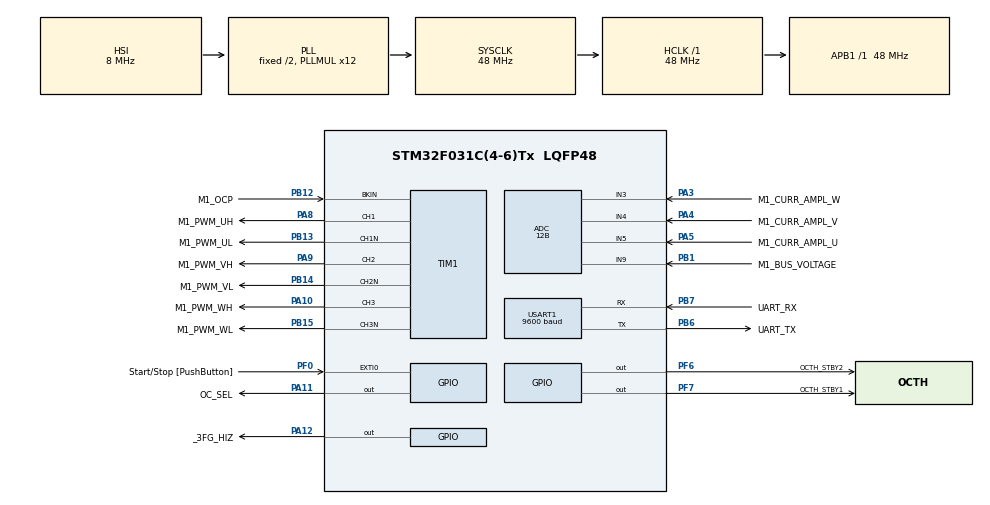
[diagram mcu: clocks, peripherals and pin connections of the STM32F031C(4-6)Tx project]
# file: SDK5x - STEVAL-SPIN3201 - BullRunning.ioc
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ADC.ClockPrescaler=ADC_CLOCK_ASYNC_DIV1
ADC.ContinuousConvMode=DISABLE
ADC.DMAContinuousRequests=ENABLE
ADC.DataAlign=ADC_DATAALIGN_LEFT
ADC.DiscontinuousConvMode=DISABLE
ADC.EOCSelection=ADC_EOC_SINGLE_CONV
ADC.EnableAnalogWatchDog=false
ADC.ExternalTrigConv=ADC_EXTERNALTRIGCONV_T1_TRGO
ADC.ExternalTrigConvEdge=ADC_EXTERNALTRIGCONVEDGE_RISING
ADC.LowPowerAutoPowerOff=DISABLE
ADC.LowPowerAutoWait=DISABLE
ADC.Overrun=ADC_OVR_DATA_PRESERVED
ADC.Resolution=ADC_RESOLUTION_12B
ADC.SamplingTime=ADC_SAMPLETIME_7CYCLES_5
ADC.ScanConvMode=ADC_SCAN_DIRECTION_FORWARD
Dma.ADC.0.Direction=DMA_PERIPH_TO_MEMORY
Dma.ADC.0.Instance=DMA1_Channel1
Dma.ADC.0.MemDataAlignment=DMA_MDATAALIGN_HALFWORD
Dma.ADC.0.MemInc=DMA_MINC_ENABLE
Dma.ADC.0.Mode=DMA_CIRCULAR
Dma.ADC.0.PeriphDataAlignment=DMA_PDATAALIGN_HALFWORD
Dma.ADC.0.PeriphInc=DMA_PINC_DISABLE
Dma.ADC.0.Priority=DMA_PRIORITY_HIGH
Dma.Request0=ADC
ExtraMW=MotorControl
ExtraMW.MotorControl.Config=MotorControl
ExtraMW.MotorControl.Mode=MotorControl
ExtraMW.MotorControl.Root=MCSDK_v5.2.0/MotorControl
ExtraMW.MotorControl.Template=templates
Mcu.Family=STM32F0
Mcu.Name=STM32F031C(4-6)Tx
Mcu.Package=LQFP48
MotorControl.ADC_1_PERIPH=ADC1
MotorControl.ADC_2_PERIPH=ADC2
MotorControl.ADC_AHBPERIPH=RCC_AHBPeriph_ADC12
MotorControl.ADC_CLOCK_WB_DIV=1
MotorControl.ADC_CLOCK_WB_FREQ=14
MotorControl.ADC_PERIPH=ADC1
MotorControl.ALIGNMENT_ANGLE_DEG=90
MotorControl.ALIGNMENT_DURATION=700
MotorControl.AMPLIFICATION_GAIN=7.70
MotorControl.ANGC={0,0,0,0,0,0,0,0}
MotorControl.BEMF_CONSISTENCY_GAIN=64
MotorControl.BEMF_CONSISTENCY_TOL=64
MotorControl.BKIN1_FILTER=0
MotorControl.BKIN2_FILTER=0
MotorControl.BKIN2_MODE=NONE
MotorControl.BKIN_MODE=EXT_MODE
MotorControl.BOARD=CUSTOM
MotorControl.BRKIN2_GPIO_AF=GPIO_AF_2
MotorControl.BRKIN_GPIO_AF=GPIO_AF_2
MotorControl.BUS_VOLTAGE_READING=true
MotorControl.CLOCK_FREQUENCY=CPU_CLK_48_MHZ
MotorControl.CLOCK_SOURCE=INTERNAL
MotorControl.CONSTANT1_D=8158
MotorControl.CONSTANT1_Q=8158
MotorControl.CONSTANT2_QD=2650
MotorControl.CORD_BEMF_CONSISTENCY_GAIN=64
MotorControl.CORD_BEMF_CONSISTENCY_TOL=64
MotorControl.CORD_F1=2048
MotorControl.CORD_F2=16384
MotorControl.CORD_FIFO_DEPTH_01HZ=64
MotorControl.CORD_FIFO_DEPTH_DPP=64
MotorControl.CORD_GAIN1=-1300
MotorControl.CORD_GAIN2=3877
MotorControl.CORD_MAX_ACCEL_DPPP=160
MotorControl.CORD_MEAS_ERRORS_BEFORE_FAULTS=3
MotorControl.CORD_VARIANCE_THRESHOLD=4
MotorControl.CPU_CLK_48_MHZ=true
MotorControl.CTRBDID=10010
MotorControl.CURRENT_READING_TOPOLOGY=THREE_SHUNT
MotorControl.CURR_SAMPLING_TIME=7
MotorControl.DAC_EMULATED=false
MotorControl.DAC_FUNCTIONALITY=false
MotorControl.DAC_TIMER_CH1_GPIO_PIN=LL_GPIO_PIN_0
MotorControl.DAC_TIMER_CH1_GPIO_PORT=GPIOA
MotorControl.DAC_TIMER_CH2_GPIO_PIN=LL_GPIO_PIN_0
MotorControl.DAC_TIMER_CH2_GPIO_PORT=GPIOA
MotorControl.DAC_TIMER_REMAPPING=NO_REMAP
MotorControl.DAC_TIMER_SELECTION=TIM3
MotorControl.DC_CURRENT_RS_MEAS=5.00
MotorControl.DEBUG_DAC_CH1=false
MotorControl.DEBUG_DAC_CH2=false
MotorControl.DEFAULT_CONTROL_MODE=STC_SPEED_MODE
MotorControl.DEFAULT_DAC_CHANNEL_1=MC_PROTOCOL_REG_I_A
MotorControl.DEFAULT_DAC_CHANNEL_2=MC_PROTOCOL_REG_I_B
MotorControl.DEFAULT_DAC_MOTOR=0
MotorControl.DEFAULT_FLUX_COMPONENT=0
MotorControl.DEFAULT_TARGET_SPEED_RPM=3000
MotorControl.DEFAULT_TORQUE_COMPONENT=0
MotorControl.DISSIPATIVE_BRAKE_POLARITY=DOUT_ACTIVE_HIGH
MotorControl.DRIVES_NUMBER_SELECTION=SINGLEDRIVE
MotorControl.EMERGENCY2_STOP_GPIO_PIN=LL_GPIO_PIN_12
MotorControl.EMERGENCY2_STOP_GPIO_PORT=GPIOB
MotorControl.EMERGENCY_STOP_GPIO_PIN=LL_GPIO_PIN_12
MotorControl.EMERGENCY_STOP_GPIO_PORT=GPIOB
MotorControl.ENABLE_SL_ALGO_FROM_PHASE=2
MotorControl.ENCODER_AVAILABLE=false
MotorControl.ENCODER_PPR=400
MotorControl.ENC_AVERAGING_FIFO_DEPTH=16
MotorControl.ENC_A_GPIO_PIN=LL_GPIO_PIN_0
MotorControl.ENC_A_GPIO_PORT=GPIOA
MotorControl.ENC_B_GPIO_PIN=LL_GPIO_PIN_1
MotorControl.ENC_B_GPIO_PORT=GPIOA
MotorControl.ENC_ICx_FILTER=34
MotorControl.ENC_INVERT_SPEED=false
MotorControl.ENC_MEAS_ERRORS_BEFORE_FAULTS=3
MotorControl.ENC_TIMER_REMAPPING=NO_REMAP_TIM2
MotorControl.ENC_TIMER_SELECTION=ENC_TIM2
MotorControl.EXT_CLOCK_FREQUENCY=INT_RC_OSC
MotorControl.F1=2048
MotorControl.F2=16384
MotorControl.FEEDBACK_NET_FILTERING=false
MotorControl.FEED_FORWARD_CURRENT_REG_ENABLING=false
MotorControl.FINAL_I_ALIGNMENT=2981
MotorControl.FLUX_WEAKENING_ENABLING=false
MotorControl.FW_KIDIV=32768
MotorControl.FW_KI_GAIN=5000
MotorControl.FW_KPDIV=32768
MotorControl.FW_KP_GAIN=3000
MotorControl.FW_VOLTAGE_REF=985
MotorControl.GAIN1=-1300
MotorControl.GAIN2=3877
MotorControl.H1_GPIO_PIN=LL_GPIO_PIN_0
MotorControl.H1_GPIO_PORT=GPIOA
MotorControl.H2_GPIO_PIN=LL_GPIO_PIN_1
MotorControl.H2_GPIO_PORT=GPIOA
MotorControl.H3_GPIO_PIN=LL_GPIO_PIN_2
MotorControl.H3_GPIO_PORT=GPIOA
MotorControl.HALL_AVERAGING_FIFO_DEPTH=6
MotorControl.HALL_ICx_FILTER=62
MotorControl.HALL_MEAS_ERRORS_BEFORE_FAULTS=3
MotorControl.HALL_PHASE_SHIFT=300
MotorControl.HALL_SENSORS_AVAILABLE=false
MotorControl.HALL_SENSORS_PLACEMENT=DEGREES_120
MotorControl.HALL_TIMER_REMAPPING=NO_REMAP_TIM2
MotorControl.HALL_TIMER_SELECTION=HALL_TIM2
MotorControl.HFI_AMPLITUDE=25
MotorControl.HFI_DC_0_COEFF=0.00146
MotorControl.HFI_DC_1_COEFF=0.002921
MotorControl.HFI_DC_2_COEFF=0.00146
MotorControl.HFI_DC_3_COEFF=1.889033
MotorControl.HFI_DC_4_COEFF=-0.894874
MotorControl.HFI_DEBUG_MODE=false
MotorControl.HFI_FREQUENCY=400
MotorControl.HFI_HIFRAMPLSCAN=25
MotorControl.HFI_HP_ID_0_COEFF=0.908734
MotorControl.HFI_HP_ID_1_COEFF=-1.817468
MotorControl.HFI_HP_ID_2_COEFF=0.908734
MotorControl.HFI_HP_ID_3_COEFF=1.809122
MotorControl.HFI_HP_ID_4_COEFF=-0.825815
MotorControl.HFI_IDH_DELAY=32400
MotorControl.HFI_LOCKFREQ=50
MotorControl.HFI_LP_ID_0_COEFF=0.013359
MotorControl.HFI_LP_ID_1_COEFF=0.026718
MotorControl.HFI_LP_ID_2_COEFF=0.013359
MotorControl.HFI_LP_ID_3_COEFF=1.64746
MotorControl.HFI_LP_ID_4_COEFF=-0.700897
MotorControl.HFI_MAXANGLEDIFF=3640
MotorControl.HFI_MINIMUM_SPEED_RPM=402
MotorControl.HFI_NOTCH_IQD_0_COEFF=0.95417
MotorControl.HFI_NOTCH_IQD_1_COEFF=-1.872787
MotorControl.HFI_NOTCH_IQD_2_COEFF=0.95417
MotorControl.HFI_NOTCH_IQD_3_COEFF=1.872787
MotorControl.HFI_NOTCH_IQD_4_COEFF=-0.908339
MotorControl.HFI_NSDETPOINTSSKIP=10
MotorControl.HFI_NSMAXDETPOINTS=20
MotorControl.HFI_NS_MIN_SAT_DIFF=0
MotorControl.HFI_PID_KIDIV=32768
MotorControl.HFI_PID_KI_DEFAULT=400
MotorControl.HFI_PID_KPDIV=16384
MotorControl.HFI_PID_KP_DEFAULT=800
MotorControl.HFI_PLL_KI_DEFAULT=0.00400
MotorControl.HFI_PLL_KP_DEFAULT=0.00060
MotorControl.HFI_RESTARTTIMESEC=0.1
MotorControl.HFI_RESTART_RPM_TH=(((HFI_STO_RPM_TH)+(STO_HFI_RPM_TH))/2)
MotorControl.HFI_REVERT_DIRECTION=true
MotorControl.HFI_SCANROTATIONSNO=3
MotorControl.HFI_SPD_BUFFER_DEPTH_01HZ=64
MotorControl.HFI_STEPANGLE=3640
MotorControl.HFI_STO_RPM_TH=OBS_MINIMUM_SPEED_RPM
MotorControl.HFI_WAITAFTERNS2=4
MotorControl.HFI_WAITBEFORESN=6
MotorControl.HFI_WAITSYNCH=20
MotorControl.HFI_WAITTRACK=20
MotorControl.HIGH_SIDE_BRAKE_STATE=false
MotorControl.HIGH_SIDE_IDLE_STATE=false
MotorControl.HW_COMPLEMENTED_LOW_SIDE=false
MotorControl.HW_DEAD_TIME_NS=100
MotorControl.HW_OV_CURRENT_PROT_BYPASS=false
MotorControl.ID_DEMAG=-7645
MotorControl.INRUSH_CURRLIMIT_AT_POWER_ON=true
MotorControl.INRUSH_CURRLIMIT_CHANGE_AFTER_MS=1000
MotorControl.INRUSH_CURRLIMIT_ENABLING=false
MotorControl.INRUSH_CURRLIMIT_GPIO_PIN=LL_GPIO_PIN_4
MotorControl.INRUSH_CURRLIMIT_GPIO_PORT=GPIOE
MotorControl.INRUSH_CURR_LIMITER_POLARITY=DOUT_ACTIVE_HIGH
MotorControl.INTERNAL_OVERCURRENTPROTECTION=false
MotorControl.INTERNAL_OVERVOLTAGEPROTECTION=false
MotorControl.INT_RC_OSC=true
MotorControl.IQMAX=7645
MotorControl.LCD_JOYSTICK_FUNCTIONALITY=false
MotorControl.LCD_MODE=LCD_FULL
MotorControl.LDLQ_RATIO=1.000
MotorControl.LOW_SIDE_BRAKE_STATE=false
MotorControl.LOW_SIDE_IDLE_STATE=false
MotorControl.LOW_SIDE_SIGNALS_ENABLING=LS_PWM_TIMER
MotorControl.LS=0.000012
MotorControl.MAX_APPLICATION_SPEED=15000
MotorControl.MAX_MODULATION_97_PER_CENT=true
MotorControl.MAX_MODULATION_INDEX=MAX_MODULATION_97_PER_CENT
MotorControl.MCU=STSPIN32F0
MotorControl.MCU_SUPPLY_VOLTAGE=3.30
MotorControl.MCU_TYPE=STSPIN32F0
MotorControl.MC_WORKBENCH_VERSION=5.2.0.18503
MotorControl.MEAS_ERRORS_BEFORE_FAULTS=3
MotorControl.MIN_APPLICATION_SPEED=0
MotorControl.MOTOR_MAX_SPEED_RPM=15000
MotorControl.MOTOR_TYPE=PMSM
MotorControl.MOTOR_VOLTAGE_CONSTANT=0.9
MotorControl.MTPA_ENABLING=false
MotorControl.NB_CONSECUTIVE_TESTS=2
MotorControl.NOMINAL_BUS_VOLTAGE_V=12
MotorControl.NOMINAL_CURRENT=7645
MotorControl.OBS_MEAS_ERRORS_BEFORE_FAULTS=3
MotorControl.OBS_MINIMUM_SPEED_RPM=2533
MotorControl.OCPA_INVERTINGINPUT=COMPX_InvertingInput_VREF
MotorControl.OCPA_INVERTINGINPUT_GPIO_PIN=LL_GPIO_PIN_4
MotorControl.OCPA_INVERTINGINPUT_GPIO_PORT=GPIOA
MotorControl.OCPA_INVERTINGINPUT_MODE=INT_MODE
MotorControl.OCPA_NONINVERTINGINPUT=COMP1_NonInvertingInput_PA1
MotorControl.OCPA_NONINVERTINGINPUT_GPIO_PIN=LL_GPIO_PIN_1
MotorControl.OCPA_NONINVERTINGINPUT_GPIO_PORT=GPIOA
MotorControl.OCPA_OUTPUT=COMP_Output_TIM1BKIN2
MotorControl.OCPA_OUTPUTPOL=COMP_OutputPol_NonInverted
MotorControl.OCPA_OUTPUT_GPIO_AF=GPIO_AF_2
MotorControl.OCPA_OUTPUT_GPIO_PIN=LL_GPIO_PIN_0
MotorControl.OCPA_OUTPUT_GPIO_PORT=GPIOA
MotorControl.OCPA_OUTPUT_MODE=INT_MODE
MotorControl.OCPA_SELECTION=COMP1
MotorControl.OCPB_INVERTINGINPUT=COMPX_InvertingInput_VREF
MotorControl.OCPB_INVERTINGINPUT_GPIO_PIN=LL_GPIO_PIN_4
MotorControl.OCPB_INVERTINGINPUT_GPIO_PORT=GPIOA
MotorControl.OCPB_INVERTINGINPUT_MODE=INT_MODE
MotorControl.OCPB_NONINVERTINGINPUT=COMP2_NonInvertingInput_PA7
MotorControl.OCPB_NONINVERTINGINPUT_GPIO_PIN=LL_GPIO_PIN_7
MotorControl.OCPB_NONINVERTINGINPUT_GPIO_PORT=GPIOA
MotorControl.OCPB_OUTPUT=COMP_Output_TIM1BKIN2
MotorControl.OCPB_OUTPUTPOL=COMP_OutputPol_NonInverted
MotorControl.OCPB_OUTPUT_GPIO_AF=GPIO_AF_2
MotorControl.OCPB_OUTPUT_GPIO_PIN=LL_GPIO_PIN_2
MotorControl.OCPB_OUTPUT_GPIO_PORT=GPIOA
MotorControl.OCPB_OUTPUT_MODE=INT_MODE
MotorControl.OCPB_SELECTION=COMP2
MotorControl.OCPC_INVERTINGINPUT=COMPX_InvertingInput_VREF
MotorControl.OCPC_INVERTINGINPUT_GPIO_PIN=LL_GPIO_PIN_4
MotorControl.OCPC_INVERTINGINPUT_GPIO_PORT=GPIOA
MotorControl.OCPC_INVERTINGINPUT_MODE=INT_MODE
MotorControl.OCPC_NONINVERTINGINPUT=COMP3_NonInvertingInput_PB14
MotorControl.OCPC_NONINVERTINGINPUT_GPIO_PIN=LL_GPIO_PIN_14
MotorControl.OCPC_NONINVERTINGINPUT_GPIO_PORT=GPIOB
MotorControl.OCPC_OUTPUT=COMP_Output_TIM1BKIN2
MotorControl.OCPC_OUTPUTPOL=COMP_OutputPol_NonInverted
MotorControl.OCPC_OUTPUT_GPIO_AF=GPIO_AF_2
MotorControl.OCPC_OUTPUT_GPIO_PIN=LL_GPIO_PIN_8
MotorControl.OCPC_OUTPUT_GPIO_PORT=GPIOC
MotorControl.OCPC_OUTPUT_MODE=INT_MODE
MotorControl.OCPC_SELECTION=COMP3
MotorControl.OCPREF=23830
MotorControl.OCP_COMP_THRESHOLD=0.10
MotorControl.OCP_FILTER=COMP_Mode_HighSpeed
MotorControl.OCP_INVERTINGINPUT=COMPX_InvertingInput_VREF
MotorControl.OCP_INVERTINGINPUT_GPIO_PIN=LL_GPIO_PIN_4
MotorControl.OCP_INVERTINGINPUT_GPIO_PORT=GPIOA
MotorControl.OCP_INVERTINGINPUT_MODE=INT_MODE
MotorControl.OCP_NONINVERTINGINPUT=COMP2_NonInvertingInput_PA7
MotorControl.OCP_NONINVERTINGINPUT_GPIO_PIN=LL_GPIO_PIN_7
MotorControl.OCP_NONINVERTINGINPUT_GPIO_PORT=GPIOA
MotorControl.OCP_OUTPUT=COMP_Output_TIM1BKIN2
MotorControl.OCP_OUTPUTPOL=COMP_OutputPol_NonInverted
MotorControl.OCP_OUTPUT_GPIO_AF=GPIO_AF_2
MotorControl.OCP_OUTPUT_GPIO_PIN=LL_GPIO_PIN_2
MotorControl.OCP_OUTPUT_GPIO_PORT=GPIOA
MotorControl.OCP_OUTPUT_MODE=INT_MODE
MotorControl.OCP_SELECTION=COMP2
MotorControl.OFST={0,0,0,0,0,0,0,0}
MotorControl.ON_OVER_VOLTAGE=TURN_ON_LOW_SIDES
MotorControl.OPAMP1_INVERTINGINPUT=OPAMP1_InvertingInput_PGA
MotorControl.OPAMP1_INVERTINGINPUT_GPIO_PIN=LL_GPIO_PIN_3
MotorControl.OPAMP1_INVERTINGINPUT_GPIO_PORT=GPIOA
MotorControl.OPAMP1_INVERTINGINPUT_MODE=INT_MODE
MotorControl.OPAMP1_NONINVERTINGINPUT_PHA=OPAMP1_NonInvertingInput_PA1
MotorControl.OPAMP1_NONINVERTINGINPUT_PHA_GPIO_PIN=LL_GPIO_PIN_1
MotorControl.OPAMP1_NONINVERTINGINPUT_PHA_GPIO_PORT=GPIOA
MotorControl.OPAMP1_NONINVERTINGINPUT_PHB=OPAMP1_NonInvertingInput_PA7
MotorControl.OPAMP1_NONINVERTINGINPUT_PHB_GPIO_PIN=LL_GPIO_PIN_7
MotorControl.OPAMP1_NONINVERTINGINPUT_PHB_GPIO_PORT=GPIOA
MotorControl.OPAMP1_OUT_GPIO_PIN=LL_GPIO_PIN_2
MotorControl.OPAMP1_OUT_GPIO_PORT=GPIOA
MotorControl.OPAMP1_SELECTION=OPAMP1
MotorControl.OPAMP2_INVERTINGINPUT=OPAMP2_InvertingInput_PGA
MotorControl.OPAMP2_INVERTINGINPUT_GPIO_PIN=LL_GPIO_PIN_5
MotorControl.OPAMP2_INVERTINGINPUT_GPIO_PORT=GPIOC
MotorControl.OPAMP2_INVERTINGINPUT_MODE=INT_MODE
MotorControl.OPAMP2_NONINVERTINGINPUT_PHA=OPAMP2_NonInvertingInput_PB14
MotorControl.OPAMP2_NONINVERTINGINPUT_PHA_GPIO_PIN=LL_GPIO_PIN_14
MotorControl.OPAMP2_NONINVERTINGINPUT_PHA_GPIO_PORT=GPIOB
MotorControl.OPAMP2_NONINVERTINGINPUT_PHB=OPAMP2_NonInvertingInput_PA7
MotorControl.OPAMP2_NONINVERTINGINPUT_PHB_GPIO_PIN=LL_GPIO_PIN_7
MotorControl.OPAMP2_NONINVERTINGINPUT_PHB_GPIO_PORT=GPIOA
MotorControl.OPAMP2_NONINVERTINGINPUT_PHC=OPAMP2_NonInvertingInput_PB14
MotorControl.OPAMP2_NONINVERTINGINPUT_PHC_GPIO_PIN=LL_GPIO_PIN_14
MotorControl.OPAMP2_NONINVERTINGINPUT_PHC_GPIO_PORT=GPIOB
MotorControl.OPAMP2_OUT_GPIO_PIN=LL_GPIO_PIN_6
MotorControl.OPAMP2_OUT_GPIO_PORT=GPIOA
MotorControl.OPAMP2_SELECTION=OPAMP2
MotorControl.OPAMP_INVERTINGINPUT=OPAMP1_InvertingInput_PGA
MotorControl.OPAMP_INVERTINGINPUT_GPIO_PIN=LL_GPIO_PIN_3
MotorControl.OPAMP_INVERTINGINPUT_GPIO_PORT=GPIOA
MotorControl.OPAMP_INVERTINGINPUT_MODE=INT_MODE
MotorControl.OPAMP_NONINVERTINGINPUT=OPAMP1_NonInvertingInput_PA7
MotorControl.OPAMP_NONINVERTINGINPUT_GPIO_PIN=LL_GPIO_PIN_7
MotorControl.OPAMP_NONINVERTINGINPUT_GPIO_PORT=GPIOA
MotorControl.OPAMP_OUT_GPIO_PIN=LL_GPIO_PIN_2
MotorControl.OPAMP_OUT_GPIO_PORT=GPIOA
MotorControl.OPAMP_PGACONNECT=OPAMP_PGAConnect_No
MotorControl.OPAMP_PGAGAIN=OPAMP_OPAMP_PGAGain_2
MotorControl.OPAMP_SELECTION=OPAMP1
MotorControl.OPAMP_TYPE_GAIN=INTERNAL
MotorControl.OPEN_LOOP_FOC=false
MotorControl.OPEN_LOOP_K=44
MotorControl.OPEN_LOOP_OFF=4400
MotorControl.OPEN_LOOP_SPEED_RAMP_DURATION_MS=1000
MotorControl.OPEN_LOOP_SPEED_RPM=100
MotorControl.OPEN_LOOP_VF=false
MotorControl.OPEN_LOOP_VOLTAGE_d=6000
MotorControl.OVERCURR_FEEDBACK_POLARITY=EMSTOP_ACTIVE_HIGH
MotorControl.OVERCURR_PROTECTION_HW_DISABLING=DOUT_ACTIVE_HIGH
MotorControl.OVPREF=23830
MotorControl.OVP_FILTER=COMP_Mode_HighSpeed
MotorControl.OVP_INVERTINGINPUT=COMPX_InvertingInput_VREF
MotorControl.OVP_INVERTINGINPUT_GPIO_PIN=LL_GPIO_PIN_4
MotorControl.OVP_INVERTINGINPUT_GPIO_PORT=GPIOA
MotorControl.OVP_INVERTINGINPUT_MODE=INT_MODE
MotorControl.OVP_NONINVERTINGINPUT=COMP7_NonInvertingInput_PA0
MotorControl.OVP_NONINVERTINGINPUT_GPIO_PIN=LL_GPIO_PIN_0
MotorControl.OVP_NONINVERTINGINPUT_GPIO_PORT=GPIOA
MotorControl.OVP_OUTPUT=COMP_Output_TIM1BKIN
MotorControl.OVP_OUTPUTPOL=COMP_OutputPol_NonInverted
MotorControl.OVP_OUTPUT_GPIO_AF=GPIO_AF_2
MotorControl.OVP_OUTPUT_GPIO_PIN=LL_GPIO_PIN_2
MotorControl.OVP_OUTPUT_GPIO_PORT=GPIOC
MotorControl.OVP_OUTPUT_MODE=INT_MODE
MotorControl.OVP_SELECTION=COMP7
MotorControl.OV_CURR_BYPASS_GPIO_PIN=LL_GPIO_PIN_5
MotorControl.OV_CURR_BYPASS_GPIO_PORT=GPIOE
MotorControl.OV_TEMPERATURE_HYSTERESIS_C=10
MotorControl.OV_TEMPERATURE_PROT_ENABLING=false
MotorControl.OV_TEMPERATURE_THRESHOLD_C=70
MotorControl.OV_VOLTAGE_PROT_ENABLING=true
MotorControl.OV_VOLTAGE_THRESHOLD_V=45
MotorControl.PHASE1_DURATION=100
MotorControl.PHASE1_FINAL_CURRENT=1834
MotorControl.PHASE1_FINAL_SPEED_RPM=0
MotorControl.PHASE2_DURATION=300
MotorControl.PHASE2_FINAL_CURRENT=1834
MotorControl.PHASE2_FINAL_SPEED_RPM=1500
MotorControl.PHASE3_DURATION=500
MotorControl.PHASE3_FINAL_CURRENT=1834
MotorControl.PHASE3_FINAL_SPEED_RPM=3000
MotorControl.PHASE4_DURATION=0
MotorControl.PHASE4_FINAL_CURRENT=1834
MotorControl.PHASE4_FINAL_SPEED_RPM=3000
MotorControl.PHASE5_DURATION=0
MotorControl.PHASE5_FINAL_CURRENT=1834
MotorControl.PHASE5_FINAL_SPEED_RPM=3000
MotorControl.PHASE_CURRENTS_ADC=ADC1_2
MotorControl.PHASE_CURRENTS_CHANNEL=ADC_CHANNEL_9
MotorControl.PHASE_CURRENTS_GPIO_PIN=LL_GPIO_PIN_0
MotorControl.PHASE_CURRENTS_GPIO_PORT=GPIOA
MotorControl.PHASE_UH_GPIO_AF=GPIO_AF_2
MotorControl.PHASE_UH_GPIO_PIN=LL_GPIO_PIN_8
MotorControl.PHASE_UH_GPIO_PORT=GPIOA
MotorControl.PHASE_UH_POLARITY=H_ACTIVE_HIGH
MotorControl.PHASE_UL_GPIO_AF=GPIO_AF_2
MotorControl.PHASE_UL_GPIO_PIN=LL_GPIO_PIN_13
MotorControl.PHASE_UL_GPIO_PORT=GPIOB
MotorControl.PHASE_UL_POLARITY=L_ACTIVE_HIGH
MotorControl.PHASE_U_CURR_ADC=ADC1
MotorControl.PHASE_U_CURR_CHANNEL=ADC_CHANNEL_5
MotorControl.PHASE_U_GPIO_PIN=LL_GPIO_PIN_5
MotorControl.PHASE_U_GPIO_PORT=GPIOA
MotorControl.PHASE_VH_GPIO_AF=GPIO_AF_2
MotorControl.PHASE_VH_GPIO_PIN=LL_GPIO_PIN_9
MotorControl.PHASE_VH_GPIO_PORT=GPIOA
MotorControl.PHASE_VH_POLARITY=H_ACTIVE_HIGH
MotorControl.PHASE_VL_GPIO_AF=GPIO_AF_2
MotorControl.PHASE_VL_GPIO_PIN=LL_GPIO_PIN_14
MotorControl.PHASE_VL_GPIO_PORT=GPIOB
MotorControl.PHASE_VL_POLARITY=L_ACTIVE_HIGH
MotorControl.PHASE_V_CURR_ADC=ADC1
MotorControl.PHASE_V_CURR_CHANNEL=ADC_CHANNEL_4
MotorControl.PHASE_V_GPIO_PIN=LL_GPIO_PIN_4
MotorControl.PHASE_V_GPIO_PORT=GPIOA
MotorControl.PHASE_WH_GPIO_AF=GPIO_AF_2
MotorControl.PHASE_WH_GPIO_PIN=LL_GPIO_PIN_10
MotorControl.PHASE_WH_GPIO_PORT=GPIOA
MotorControl.PHASE_WH_POLARITY=H_ACTIVE_HIGH
MotorControl.PHASE_WL_GPIO_AF=GPIO_AF_2
MotorControl.PHASE_WL_GPIO_PIN=LL_GPIO_PIN_15
MotorControl.PHASE_WL_GPIO_PORT=GPIOB
MotorControl.PHASE_WL_POLARITY=L_ACTIVE_HIGH
MotorControl.PHASE_W_CURR_ADC=ADC1
MotorControl.PHASE_W_CURR_CHANNEL=ADC_CHANNEL_3
MotorControl.PHASE_W_GPIO_PIN=LL_GPIO_PIN_3
MotorControl.PHASE_W_GPIO_PORT=GPIOA
MotorControl.PID_FLUX_KD_DEFAULT=100
MotorControl.PID_FLUX_KI_DEFAULT=1620
MotorControl.PID_FLUX_KP_DEFAULT=1404
MotorControl.PID_SPEED_KD_DEFAULT=0
MotorControl.PID_SPEED_KI_DEFAULT=133
MotorControl.PID_SPEED_KP_DEFAULT=2733
MotorControl.PID_TORQUE_KD_DEFAULT=100
MotorControl.PID_TORQUE_KI_DEFAULT=1620
MotorControl.PID_TORQUE_KP_DEFAULT=1404
MotorControl.PLL_KI_GAIN=234
MotorControl.PLL_KP_GAIN=4297
MotorControl.POLE_PAIR_NUM=7
MotorControl.PWBDID=10010
MotorControl.PWM_FREQUENCY=13000
MotorControl.PWM_TIMER_REMAPPING=PWM_NO_REMAP
MotorControl.PWM_TIMER_SELECTION=PWM_TIM1
MotorControl.REGCONVADC=ADC1
MotorControl.REGULATION_EXECUTION_RATE=1
MotorControl.RS=0.18
MotorControl.RSHUNT=0.010
MotorControl.R_BRAKE_GPIO_PIN=LL_GPIO_PIN_5
MotorControl.R_BRAKE_GPIO_PORT=GPIOE
MotorControl.R_BRAKE_SWITCH_OFF_THRES_V=36
MotorControl.SEGDIV=0
MotorControl.SERIAL_COMMUNICATION=true
MotorControl.SERIAL_COM_CHANNEL1=MC_PROTOCOL_REG_I_A
MotorControl.SERIAL_COM_CHANNEL2=MC_PROTOCOL_REG_I_A
MotorControl.SERIAL_COM_MODE=COM_BIDIRECTIONAL
MotorControl.SERIAL_COM_MOTOR=0
MotorControl.SHARED_SIGNAL_ENABLE=false
MotorControl.SINGLEDRIVE=true
MotorControl.SPD_DIFFERENTIAL_TERM_ENABLING=false
MotorControl.SPEED_BAND_LOWER_LIMIT=15
MotorControl.SPEED_BAND_UPPER_LIMIT=17
MotorControl.SPEED_FEEDBACK_CHECK=true
MotorControl.SPEED_LOOP_FREQUENCY_HZ=1000
MotorControl.SPEED_SENSOR_SELECTION=STATE_OBSERVER_PLL
MotorControl.SP_KDDIV=16
MotorControl.SP_KIDIV=16384
MotorControl.SP_KPDIV=512
MotorControl.STARTING_ANGLE_DEG=0
MotorControl.START_STOP_BTN=true
MotorControl.START_STOP_GPIO_PIN=LL_GPIO_PIN_0
MotorControl.START_STOP_GPIO_PORT=GPIOF
MotorControl.START_STOP_POLARITY=DIN_ACTIVE_LOW
MotorControl.STATE_OBSERVER_PLL=true
MotorControl.STO_FIFO_DEPTH_01HZ=64
MotorControl.STO_FIFO_DEPTH_DPP=64
MotorControl.STO_HFI_RPM_TH=460
MotorControl.STSPIN32F0=true
MotorControl.SW_DEADTIME_NS=800
MotorControl.SW_OV_CURRENT_PROT_ENABLING=true
MotorControl.T0_C=25
MotorControl.TEMPERATURE_READING=false
MotorControl.TEMP_ADC_SAMPLING_TIME=1
MotorControl.TEMP_FDBK_ADC=ADC1
MotorControl.TEMP_FDBK_CHANNEL=ADC_CHANNEL_5
MotorControl.TEMP_FDBK_GPIO_PIN=LL_GPIO_PIN_5
MotorControl.TEMP_FDBK_GPIO_PORT=GPIOA
MotorControl.TFDIFFERENTIAL_TERM_ENABLING=false
MotorControl.TF_KDDIV=8192
MotorControl.TF_KIDIV=16384
MotorControl.TF_KPDIV=16384
MotorControl.THREE_SHUNT=true
MotorControl.TNOISE_NS=1200
MotorControl.TRANSITION_DURATION=25
MotorControl.TRISE_NS=1200
MotorControl.T_MAX=70
MotorControl.UD_VOLTAGE_THRESHOLD_V=8
MotorControl.USART_REMAPPING=NO_REMAP_USART1
MotorControl.USART_RX_GPIO_PIN=LL_GPIO_PIN_7
MotorControl.USART_RX_GPIO_PORT=GPIOB
MotorControl.USART_SELECTION=USE_USART1
MotorControl.USART_SPEED=9600
MotorControl.USART_TX_GPIO_PIN=LL_GPIO_PIN_6
MotorControl.USART_TX_GPIO_PORT=GPIOB
MotorControl.USE_INTERNAL_OPAMP=false
MotorControl.UV_VOLTAGE_PROT_ENABLING=true
MotorControl.V0_V=0.290
MotorControl.VARIANCE_THRESHOLD=0.1
MotorControl.VBUS_ADC=ADC1
MotorControl.VBUS_ADC_SAMPLING_TIME=28
MotorControl.VBUS_CHANNEL=ADC_CHANNEL_9
MotorControl.VBUS_GPIO_PIN=LL_GPIO_PIN_1
MotorControl.VBUS_GPIO_PORT=GPIOB
MotorControl.VBUS_PARTITIONING_FACTOR=0.0522
MotorControl.WB_to_Mx_template_version=18-08-02
MotorControl.WB_to_Mx_version=0.13.3
MotorControl.dV_dT=0.025
NVIC.DMA1_Channel1_IRQn=true\:0\:0\:true\:true\:false\:3\:true
NVIC.EXTI0_1_IRQn=true\:0\:0\:false\:true\:false\:5\:true
NVIC.TIM1_BRK_UP_TRG_COM_IRQn=true\:0\:0\:false\:true\:false\:1\:true
NVIC.USART1_IRQn=true\:3\:0\:true\:true\:false\:4\:true
PA10.GPIO_Label=M1_PWM_WH
PA10.GPIO_PuPd=GPIO_PULLDOWN
PA10.GPIO_Speed=GPIO_SPEED_FREQ_HIGH
PA10.Signal=S_TIM1_CH3
PA11.GPIO_Label=OC_SEL
PA11.GPIO_PuPd=GPIO_PULLDOWN
PA11.PinState=GPIO_PIN_SET
PA11.Signal=GPIO_Output
PA12.GPIO_Label=_3FG_HIZ
PA12.GPIO_PuPd=GPIO_PULLDOWN
PA12.Signal=GPIO_Output
PA3.GPIO_Label=M1_CURR_AMPL_W
PA3.Mode=IN3
PA3.Signal=ADC_IN3
PA4.GPIO_Label=M1_CURR_AMPL_V
PA4.Mode=IN4
PA4.Signal=ADC_IN4
PA5.GPIO_Label=M1_CURR_AMPL_U
PA5.Mode=IN5
PA5.Signal=ADC_IN5
PA8.GPIO_Label=M1_PWM_UH
PA8.GPIO_PuPd=GPIO_PULLDOWN
PA8.GPIO_Speed=GPIO_SPEED_FREQ_HIGH
PA8.Signal=S_TIM1_CH1
PA9.GPIO_Label=M1_PWM_VH
PA9.GPIO_PuPd=GPIO_PULLDOWN
PA9.GPIO_Speed=GPIO_SPEED_FREQ_HIGH
PA9.Signal=S_TIM1_CH2
PB1.GPIO_Label=M1_BUS_VOLTAGE
PB1.Mode=IN9
PB1.Signal=ADC_IN9
PB12.GPIO_Label=M1_OCP
PB12.GPIO_PuPd=GPIO_PULLDOWN
PB12.Mode=Activate-Break-Input
PB12.Signal=TIM1_BKIN
PB13.GPIO_Label=M1_PWM_UL
PB13.GPIO_PuPd=GPIO_PULLDOWN
PB13.GPIO_Speed=GPIO_SPEED_FREQ_HIGH
PB13.Mode=PWM Generation1 CH1 CH1N
PB13.Signal=TIM1_CH1N
PB14.GPIO_Label=M1_PWM_VL
PB14.GPIO_PuPd=GPIO_PULLDOWN
PB14.GPIO_Speed=GPIO_SPEED_FREQ_HIGH
PB14.Mode=PWM Generation2 CH2 CH2N
PB14.Signal=TIM1_CH2N
PB15.GPIO_Label=M1_PWM_WL
PB15.GPIO_PuPd=GPIO_PULLDOWN
PB15.GPIO_Speed=GPIO_SPEED_FREQ_HIGH
PB15.Mode=PWM Generation3 CH3 CH3N
PB15.Signal=TIM1_CH3N
PB6.GPIO_Label=UART_TX
PB6.GPIO_Mode=GPIO_MODE_AF_PP
PB6.GPIO_PuPd=GPIO_NOPULL
PB6.GPIO_Speed=GPIO_SPEED_FREQ_LOW
PB6.Mode=Asynchronous
PB6.Signal=USART1_TX
PB7.GPIO_Label=UART_RX
PB7.GPIO_Mode=GPIO_MODE_AF_PP
PB7.GPIO_PuPd=GPIO_NOPULL
PB7.GPIO_Speed=GPIO_SPEED_FREQ_LOW
PB7.Mode=Asynchronous
PB7.Signal=USART1_RX
PF0-OSC_IN.GPIO_Label=Start/Stop [PushButton]
PF0-OSC_IN.GPIO_ModeDefaultEXTI=GPIO_MODE_IT_FALLING
PF0-OSC_IN.Signal=GPXTI0
PF6.GPIO_Label=OCTH_STBY2
PF6.GPIO_PuPd=GPIO_PULLDOWN
PF6.PinState=GPIO_PIN_RESET
PF6.Signal=GPIO_Output
PF7.GPIO_Label=OCTH_STBY1
PF7.GPIO_PuPd=GPIO_PULLDOWN
PF7.PinState=GPIO_PIN_SET
PF7.Signal=GPIO_Output
ProjectManager.HeapSize=0x200
ProjectManager.StackSize=0x400
ProjectManager.TargetToolchain=EWARM
RCC.AHBFreq_Value=48000000
RCC.APB1Freq_Value=48000000
RCC.APB1TimFreq_Value=48000000
RCC.EnbaleCSS=true
RCC.HCLKFreq_Value=48000000
RCC.PLLMUL=RCC_PLL_MUL12
RCC.SYSCLKFreq_VALUE=48000000
RCC.SYSCLKSource=RCC_SYSCLKSOURCE_PLLCLK
SH.S_TIM1_CH1.0=TIM1_CH1,PWM Generation1 CH1 CH1N
SH.S_TIM1_CH2.0=TIM1_CH2,PWM Generation2 CH2 CH2N
SH.S_TIM1_CH3.0=TIM1_CH3,PWM Generation3 CH3 CH3N
TIM1.AutoReloadPreload=TIM_AUTORELOAD_PRELOAD_DISABLE
TIM1.AutomaticOutput=TIM_AUTOMATICOUTPUT_DISABLE
TIM1.BreakPolarity=TIM_BREAKPOLARITY_HIGH
TIM1.BreakState=TIM_BREAK_ENABLE
TIM1.Channel-PWM\ Generation1\ CH1\ CH1N=TIM_CHANNEL_1
TIM1.Channel-PWM\ Generation2\ CH2\ CH2N=TIM_CHANNEL_2
TIM1.Channel-PWM\ Generation3\ CH3\ CH3N=TIM_CHANNEL_3
TIM1.Channel-PWM\ Generation4\ No\ Output=TIM_CHANNEL_4
TIM1.ClockDivision=TIM_CLOCKDIVISION_DIV2
TIM1.CounterMode=TIM_COUNTERMODE_CENTERALIGNED1
TIM1.DeadTime=((DEAD_TIME_COUNTS) / 2)
TIM1.LockLevel=TIM_LOCKLEVEL_1
TIM1.OCIdleState_1=TIM_OCIDLESTATE_RESET
TIM1.OCIdleState_2=TIM_OCIDLESTATE_RESET
TIM1.OCIdleState_3=TIM_OCIDLESTATE_RESET
TIM1.OCIdleState_4=TIM_OCIDLESTATE_RESET
TIM1.OCMode_PWM-PWM\ Generation1\ CH1\ CH1N=TIM_OCMODE_PWM1
TIM1.OCMode_PWM-PWM\ Generation2\ CH2\ CH2N=TIM_OCMODE_PWM1
TIM1.OCMode_PWM-PWM\ Generation3\ CH3\ CH3N=TIM_OCMODE_PWM1
TIM1.OCMode_PWM-PWM\ Generation4\ No\ Output=TIM_OCMODE_PWM2
TIM1.OCNIdleState_1=TIM_OCNIDLESTATE_RESET
TIM1.OCNIdleState_2=TIM_OCNIDLESTATE_RESET
TIM1.OCNIdleState_3=TIM_OCNIDLESTATE_RESET
TIM1.OCNPolarity_1=TIM_OCNPOLARITY_HIGH
TIM1.OCNPolarity_2=TIM_OCNPOLARITY_HIGH
TIM1.OCNPolarity_3=TIM_OCNPOLARITY_HIGH
TIM1.OCPolarity_1=TIM_OCPOLARITY_HIGH
TIM1.OCPolarity_2=TIM_OCPOLARITY_HIGH
TIM1.OCPolarity_3=TIM_OCPOLARITY_HIGH
TIM1.OCPolarity_4=TIM_OCPOLARITY_HIGH
TIM1.OffStateIDLEMode=TIM_OSSI_ENABLE
TIM1.OffStateRunMode=TIM_OSSR_ENABLE
TIM1.Period=((PWM_PERIOD_CYCLES) / 2)
TIM1.Prescaler=((TIM_CLOCK_DIVIDER) - 1)
TIM1.Pulse-PWM\ Generation1\ CH1=((PWM_PERIOD_CYCLES) / 4)
TIM1.Pulse-PWM\ Generation2\ CH2=((PWM_PERIOD_CYCLES) / 4)
TIM1.Pulse-PWM\ Generation3\ CH3=((PWM_PERIOD_CYCLES) / 4)
TIM1.Pulse-PWM\ Generation4\ No\ Output=(((PWM_PERIOD_CYCLES) / 2) - (HTMIN))
TIM1.RepetitionCounter=(REP_COUNTER)
TIM1.TIM_MasterOutputTrigger=TIM_TRGO_OC4REF
TIM1.TIM_MasterSlaveMode=TIM_MASTERSLAVEMODE_DISABLE
USART1.BaudRate=9600
USART1.VirtualMode-Asynchronous=VM_ASYNC
USART1.WordLength=WORDLENGTH_8B
VP_MotorControl_MC_ENABLED.Mode=Enabled
VP_TIM1_VS_no_output4.Mode=PWM Generation4 No Output
board=custom

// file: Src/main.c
/**
  ******************************************************************************
  * @file           : main.c
  * @brief          : Main program body
  ******************************************************************************
  * This notice applies to any and all portions of this file
  * that are not between comment pairs USER CODE BEGIN and
  * USER CODE END. Other portions of this file, whether
  * inserted by the user or by software development tools
  * are owned by their respective copyright owners.
  *
  * Copyright (c) 2018 STMicroelectronics International N.V.
  * All rights reserved.
  *
  * Redistribution and use in source and binary forms, with or without
  * modification, are permitted, provided that the following conditions are met:
  *
  * 1. Redistribution of source code must retain the above copyright notice,
  *    this list of conditions and the following disclaimer.
  * 2. Redistributions in binary form must reproduce the above copyright notice,
  *    this list of conditions and the following disclaimer in the documentation
  *    and/or other materials provided with the distribution.
  * 3. Neither the name of STMicroelectronics nor the names of other
  *    contributors to this software may be used to endorse or promote products
  *    derived from this software without specific written permission.
  * 4. This software, including modifications and/or derivative works of this
  *    software, must execute solely and exclusively on microcontroller or
  *    microprocessor devices manufactured by or for STMicroelectronics.
  * 5. Redistribution and use of this software other than as permitted under
  *    this license is void and will automatically terminate your rights under
  *    this license.
  *
  * THIS SOFTWARE IS PROVIDED BY STMICROELECTRONICS AND CONTRIBUTORS "AS IS"
  * AND ANY EXPRESS, IMPLIED OR STATUTORY WARRANTIES, INCLUDING, BUT NOT
  * LIMITED TO, THE IMPLIED WARRANTIES OF MERCHANTABILITY, FITNESS FOR A
  * PARTICULAR PURPOSE AND NON-INFRINGEMENT OF THIRD PARTY INTELLECTUAL PROPERTY
  * RIGHTS ARE DISCLAIMED TO THE FULLEST EXTENT PERMITTED BY LAW. IN NO EVENT
  * SHALL STMICROELECTRONICS OR CONTRIBUTORS BE LIABLE FOR ANY DIRECT, INDIRECT,
  * INCIDENTAL, SPECIAL, EXEMPLARY, OR CONSEQUENTIAL DAMAGES (INCLUDING, BUT NOT
  * LIMITED TO, PROCUREMENT OF SUBSTITUTE GOODS OR SERVICES; LOSS OF USE, DATA,
  * OR PROFITS; OR BUSINESS INTERRUPTION) HOWEVER CAUSED AND ON ANY THEORY OF
  * LIABILITY, WHETHER IN CONTRACT, STRICT LIABILITY, OR TORT (INCLUDING
  * NEGLIGENCE OR OTHERWISE) ARISING IN ANY WAY OUT OF THE USE OF THIS SOFTWARE,
  * EVEN IF ADVISED OF THE POSSIBILITY OF SUCH DAMAGE.
  *
  ******************************************************************************
  */
#include "main.h"
#include "stm32f0xx_hal.h"
#include "motorcontrol.h"

/* USER CODE BEGIN Includes */
#include "mc_api.h"
#include "mc_extended_api.h"
#include "ui_task.h"
#include "regular_conversion_manager.h"

/* USER CODE END Includes */

ADC_HandleTypeDef hadc;
DMA_HandleTypeDef hdma_adc;

TIM_HandleTypeDef htim1;

UART_HandleTypeDef huart1;

/* USER CODE BEGIN PV */
/* Private variables ---------------------------------------------------------*/
RegConv_t  PotentiometerConv;
uint8_t PotentiometerHandle;

volatile int16_t  SPEED_value =  INITIAL_SPEED_IN_RPM/6;        //Set the first value for the speed ramp

uint16_t pot_buf[POT_BUF_SIZE];         // Buffer for potientiometer
uint16_t pot_buf_index = 0;             // potentiometer buffer index
int16_t CurrentSpeed = 0;               // Current Speed in RPM
int16_t PotentiometerReqSpeed = INITIAL_SPEED_IN_RPM/6;         // potentiometer Targeted Speed
/* USER CODE END PV */

void SystemClock_Config(void);
static void MX_GPIO_Init(void);
static void MX_DMA_Init(void);
static void MX_ADC_Init(void);
static void MX_TIM1_Init(void);
static void MX_USART1_UART_Init(void);
static void MX_NVIC_Init(void);

void HAL_TIM_MspPostInit(TIM_HandleTypeDef *htim);

/* USER CODE BEGIN PFP */
/* Private function prototypes -----------------------------------------------*/
#if defined(ENABLE_START_STOP_BUTTON)
void StartStopButtonGPIOInit(void);
#endif
void FaultLEDInit(void);
void PotentiometerInit(void);
void PotentiometerHandleSpeed(void);
int16_t PotentiometerGetAveragedSpeed(int16_t adcconv);
/* USER CODE END PFP */

int main(void)
{

  /* MCU Configuration----------------------------------------------------------*/

  /* Reset of all peripherals, Initializes the Flash interface and the Systick. */
  HAL_Init();

  /* Configure the system clock */
  SystemClock_Config();

  /* Initialize all configured peripherals */
  MX_GPIO_Init();
  MX_DMA_Init();
  MX_ADC_Init();
  MX_TIM1_Init();
  MX_USART1_UART_Init();
  MX_MotorControl_Init();

  /* Initialize interrupts */
  MX_NVIC_Init();
  /* USER CODE BEGIN 2 */
#if defined(ENABLE_START_STOP_BUTTON)
  StartStopButtonGPIOInit();
#endif
  FaultLEDInit();
  PotentiometerInit();
  /* USER CODE END 2 */

  /* Infinite loop */
  /* USER CODE BEGIN WHILE */
  while (1)
  {

    PotentiometerHandleSpeed();

    if (MC_GetOccurredFaultsMotor1() != MC_NO_ERROR)
    {
      HAL_GPIO_WritePin(FAULT_LED_GPIO_Port, FAULT_LED_Pin, GPIO_PIN_RESET);
    }
    else
    {
      HAL_GPIO_WritePin(FAULT_LED_GPIO_Port, FAULT_LED_Pin, GPIO_PIN_SET);
    }
  /* USER CODE END WHILE */

  }

}

void SystemClock_Config(void)
{

  RCC_OscInitTypeDef RCC_OscInitStruct;
  RCC_ClkInitTypeDef RCC_ClkInitStruct;
  RCC_PeriphCLKInitTypeDef PeriphClkInit;

    /**Initializes the CPU, AHB and APB busses clocks
    */
  RCC_OscInitStruct.OscillatorType = RCC_OSCILLATORTYPE_HSI|RCC_OSCILLATORTYPE_HSI14;
  RCC_OscInitStruct.HSIState = RCC_HSI_ON;
  RCC_OscInitStruct.HSI14State = RCC_HSI14_ON;
  RCC_OscInitStruct.HSICalibrationValue = 16;
  RCC_OscInitStruct.HSI14CalibrationValue = 16;
  RCC_OscInitStruct.PLL.PLLState = RCC_PLL_ON;
  RCC_OscInitStruct.PLL.PLLSource = RCC_PLLSOURCE_HSI;
  RCC_OscInitStruct.PLL.PLLMUL = RCC_PLL_MUL12;
  RCC_OscInitStruct.PLL.PREDIV = RCC_PREDIV_DIV1;
  if (HAL_RCC_OscConfig(&RCC_OscInitStruct) != HAL_OK)
  {
    _Error_Handler(__FILE__, __LINE__);
  }

    /**Initializes the CPU, AHB and APB busses clocks
    */
  RCC_ClkInitStruct.ClockType = RCC_CLOCKTYPE_HCLK|RCC_CLOCKTYPE_SYSCLK
                              |RCC_CLOCKTYPE_PCLK1;
  RCC_ClkInitStruct.SYSCLKSource = RCC_SYSCLKSOURCE_PLLCLK;
  RCC_ClkInitStruct.AHBCLKDivider = RCC_SYSCLK_DIV1;
  RCC_ClkInitStruct.APB1CLKDivider = RCC_HCLK_DIV1;

  if (HAL_RCC_ClockConfig(&RCC_ClkInitStruct, FLASH_LATENCY_1) != HAL_OK)
  {
    _Error_Handler(__FILE__, __LINE__);
  }

  PeriphClkInit.PeriphClockSelection = RCC_PERIPHCLK_USART1;
  PeriphClkInit.Usart1ClockSelection = RCC_USART1CLKSOURCE_PCLK1;
  if (HAL_RCCEx_PeriphCLKConfig(&PeriphClkInit) != HAL_OK)
  {
    _Error_Handler(__FILE__, __LINE__);
  }

    /**Enables the Clock Security System
    */
  HAL_RCC_EnableCSS();

    /**Configure the Systick interrupt time
    */
  HAL_SYSTICK_Config(HAL_RCC_GetHCLKFreq()/1000);

    /**Configure the Systick
    */
  HAL_SYSTICK_CLKSourceConfig(SYSTICK_CLKSOURCE_HCLK);

  /* SysTick_IRQn interrupt configuration */
  HAL_NVIC_SetPriority(SysTick_IRQn, 3, 0);
}

/**
  * @brief NVIC Configuration.
  * @retval None
  */
static void MX_NVIC_Init(void)
{
  /* TIM1_BRK_UP_TRG_COM_IRQn interrupt configuration */
  HAL_NVIC_SetPriority(TIM1_BRK_UP_TRG_COM_IRQn, 0, 0);
  HAL_NVIC_EnableIRQ(TIM1_BRK_UP_TRG_COM_IRQn);
  /* DMA1_Channel1_IRQn interrupt configuration */
  HAL_NVIC_SetPriority(DMA1_Channel1_IRQn, 0, 0);
  HAL_NVIC_EnableIRQ(DMA1_Channel1_IRQn);
  /* USART1_IRQn interrupt configuration */
  HAL_NVIC_SetPriority(USART1_IRQn, 3, 0);
  HAL_NVIC_EnableIRQ(USART1_IRQn);
  /* EXTI0_1_IRQn interrupt configuration */
  HAL_NVIC_SetPriority(EXTI0_1_IRQn, 0, 0);
  HAL_NVIC_EnableIRQ(EXTI0_1_IRQn);
}

/* ADC init function */
static void MX_ADC_Init(void)
{

  ADC_ChannelConfTypeDef sConfig;

    /**Configure the global features of the ADC (Clock, Resolution, Data Alignment and number of conversion)
    */
  hadc.Instance = ADC1;
  hadc.Init.ClockPrescaler = ADC_CLOCK_ASYNC_DIV1;
  hadc.Init.Resolution = ADC_RESOLUTION_12B;
  hadc.Init.DataAlign = ADC_DATAALIGN_LEFT;
  hadc.Init.ScanConvMode = ADC_SCAN_DIRECTION_FORWARD;
  hadc.Init.EOCSelection = ADC_EOC_SINGLE_CONV;
  hadc.Init.LowPowerAutoWait = DISABLE;
  hadc.Init.LowPowerAutoPowerOff = DISABLE;
  hadc.Init.ContinuousConvMode = DISABLE;
  hadc.Init.DiscontinuousConvMode = DISABLE;
  hadc.Init.ExternalTrigConv = ADC_EXTERNALTRIGCONV_T1_TRGO;
  hadc.Init.ExternalTrigConvEdge = ADC_EXTERNALTRIGCONVEDGE_RISING;
  hadc.Init.DMAContinuousRequests = ENABLE;
  hadc.Init.Overrun = ADC_OVR_DATA_PRESERVED;
  if (HAL_ADC_Init(&hadc) != HAL_OK)
  {
    _Error_Handler(__FILE__, __LINE__);
  }

    /**Configure for the selected ADC regular channel to be converted.
    */
  sConfig.Channel = ADC_CHANNEL_3;
  sConfig.Rank = ADC_RANK_CHANNEL_NUMBER;
  sConfig.SamplingTime = ADC_SAMPLETIME_7CYCLES_5;
  if (HAL_ADC_ConfigChannel(&hadc, &sConfig) != HAL_OK)
  {
    _Error_Handler(__FILE__, __LINE__);
  }

    /**Configure for the selected ADC regular channel to be converted.
    */
  sConfig.Channel = ADC_CHANNEL_4;
  if (HAL_ADC_ConfigChannel(&hadc, &sConfig) != HAL_OK)
  {
    _Error_Handler(__FILE__, __LINE__);
  }

    /**Configure for the selected ADC regular channel to be converted.
    */
  sConfig.Channel = ADC_CHANNEL_5;
  if (HAL_ADC_ConfigChannel(&hadc, &sConfig) != HAL_OK)
  {
    _Error_Handler(__FILE__, __LINE__);
  }

    /**Configure for the selected ADC regular channel to be converted.
    */
  sConfig.Channel = ADC_CHANNEL_9;
  if (HAL_ADC_ConfigChannel(&hadc, &sConfig) != HAL_OK)
  {
    _Error_Handler(__FILE__, __LINE__);
  }

}

/* TIM1 init function */
static void MX_TIM1_Init(void)
{

  TIM_MasterConfigTypeDef sMasterConfig;
  TIM_OC_InitTypeDef sConfigOC;
  TIM_BreakDeadTimeConfigTypeDef sBreakDeadTimeConfig;

  htim1.Instance = TIM1;
  htim1.Init.Prescaler = ((TIM_CLOCK_DIVIDER) - 1);
  htim1.Init.CounterMode = TIM_COUNTERMODE_CENTERALIGNED1;
  htim1.Init.Period = ((PWM_PERIOD_CYCLES) / 2);
  htim1.Init.ClockDivision = TIM_CLOCKDIVISION_DIV2;
  htim1.Init.RepetitionCounter = (REP_COUNTER);
  htim1.Init.AutoReloadPreload = TIM_AUTORELOAD_PRELOAD_DISABLE;
  if (HAL_TIM_PWM_Init(&htim1) != HAL_OK)
  {
    _Error_Handler(__FILE__, __LINE__);
  }

  sMasterConfig.MasterOutputTrigger = TIM_TRGO_OC4REF;
  sMasterConfig.MasterSlaveMode = TIM_MASTERSLAVEMODE_DISABLE;
  if (HAL_TIMEx_MasterConfigSynchronization(&htim1, &sMasterConfig) != HAL_OK)
  {
    _Error_Handler(__FILE__, __LINE__);
  }

  sConfigOC.OCMode = TIM_OCMODE_PWM1;
  sConfigOC.Pulse = 0;
  sConfigOC.OCPolarity = TIM_OCPOLARITY_HIGH;
  sConfigOC.OCNPolarity = TIM_OCNPOLARITY_HIGH;
  sConfigOC.OCFastMode = TIM_OCFAST_DISABLE;
  sConfigOC.OCIdleState = TIM_OCIDLESTATE_RESET;
  sConfigOC.OCNIdleState = TIM_OCNIDLESTATE_RESET;
  if (HAL_TIM_PWM_ConfigChannel(&htim1, &sConfigOC, TIM_CHANNEL_1) != HAL_OK)
  {
    _Error_Handler(__FILE__, __LINE__);
  }

  if (HAL_TIM_PWM_ConfigChannel(&htim1, &sConfigOC, TIM_CHANNEL_2) != HAL_OK)
  {
    _Error_Handler(__FILE__, __LINE__);
  }

  if (HAL_TIM_PWM_ConfigChannel(&htim1, &sConfigOC, TIM_CHANNEL_3) != HAL_OK)
  {
    _Error_Handler(__FILE__, __LINE__);
  }

  sConfigOC.OCMode = TIM_OCMODE_PWM2;
  sConfigOC.Pulse = (((PWM_PERIOD_CYCLES) / 2) - (HTMIN));
  if (HAL_TIM_PWM_ConfigChannel(&htim1, &sConfigOC, TIM_CHANNEL_4) != HAL_OK)
  {
    _Error_Handler(__FILE__, __LINE__);
  }

  sBreakDeadTimeConfig.OffStateRunMode = TIM_OSSR_ENABLE;
  sBreakDeadTimeConfig.OffStateIDLEMode = TIM_OSSI_ENABLE;
  sBreakDeadTimeConfig.LockLevel = TIM_LOCKLEVEL_1;
  sBreakDeadTimeConfig.DeadTime = ((DEAD_TIME_COUNTS) / 2);
  sBreakDeadTimeConfig.BreakState = TIM_BREAK_ENABLE;
  sBreakDeadTimeConfig.BreakPolarity = TIM_BREAKPOLARITY_HIGH;
  sBreakDeadTimeConfig.AutomaticOutput = TIM_AUTOMATICOUTPUT_DISABLE;
  if (HAL_TIMEx_ConfigBreakDeadTime(&htim1, &sBreakDeadTimeConfig) != HAL_OK)
  {
    _Error_Handler(__FILE__, __LINE__);
  }

  HAL_TIM_MspPostInit(&htim1);

}

/* USART1 init function */
static void MX_USART1_UART_Init(void)
{

  huart1.Instance = USART1;
  huart1.Init.BaudRate = 9600;
  huart1.Init.WordLength = UART_WORDLENGTH_8B;
  huart1.Init.StopBits = UART_STOPBITS_1;
  huart1.Init.Parity = UART_PARITY_NONE;
  huart1.Init.Mode = UART_MODE_TX_RX;
  huart1.Init.HwFlowCtl = UART_HWCONTROL_NONE;
  huart1.Init.OverSampling = UART_OVERSAMPLING_16;
  huart1.Init.OneBitSampling = UART_ONE_BIT_SAMPLE_DISABLE;
  huart1.AdvancedInit.AdvFeatureInit = UART_ADVFEATURE_NO_INIT;
  if (HAL_UART_Init(&huart1) != HAL_OK)
  {
    _Error_Handler(__FILE__, __LINE__);
  }

}

static void MX_DMA_Init(void)
{
  /* DMA controller clock enable */
  __HAL_RCC_DMA1_CLK_ENABLE();

}

/** Configure pins as
        * Analog
        * Input
        * Output
        * EVENT_OUT
        * EXTI
*/
static void MX_GPIO_Init(void)
{

  GPIO_InitTypeDef GPIO_InitStruct;

  /* GPIO Ports Clock Enable */
  __HAL_RCC_GPIOF_CLK_ENABLE();
  __HAL_RCC_GPIOA_CLK_ENABLE();
  __HAL_RCC_GPIOB_CLK_ENABLE();

  /*Configure GPIO pin Output Level */
  HAL_GPIO_WritePin(OC_SEL_GPIO_Port, OC_SEL_Pin, GPIO_PIN_SET);

  /*Configure GPIO pin Output Level */
  HAL_GPIO_WritePin(_3FG_HIZ_GPIO_Port, _3FG_HIZ_Pin, GPIO_PIN_RESET);

  /*Configure GPIO pin Output Level */
  HAL_GPIO_WritePin(OCTH_STBY2_GPIO_Port, OCTH_STBY2_Pin, GPIO_PIN_RESET);

  /*Configure GPIO pin Output Level */
  HAL_GPIO_WritePin(OCTH_STBY1_GPIO_Port, OCTH_STBY1_Pin, GPIO_PIN_SET);

  /*Configure GPIO pin : Start_Stop_Pin */
  GPIO_InitStruct.Pin = Start_Stop_Pin;
  GPIO_InitStruct.Mode = GPIO_MODE_IT_FALLING;
  GPIO_InitStruct.Pull = GPIO_NOPULL;
  HAL_GPIO_Init(Start_Stop_GPIO_Port, &GPIO_InitStruct);

  /*Configure GPIO pins : OC_SEL_Pin _3FG_HIZ_Pin */
  GPIO_InitStruct.Pin = OC_SEL_Pin|_3FG_HIZ_Pin;
  GPIO_InitStruct.Mode = GPIO_MODE_OUTPUT_PP;
  GPIO_InitStruct.Pull = GPIO_PULLDOWN;
  GPIO_InitStruct.Speed = GPIO_SPEED_FREQ_LOW;
  HAL_GPIO_Init(GPIOA, &GPIO_InitStruct);

  /*Configure GPIO pins : OCTH_STBY2_Pin OCTH_STBY1_Pin */
  GPIO_InitStruct.Pin = OCTH_STBY2_Pin|OCTH_STBY1_Pin;
  GPIO_InitStruct.Mode = GPIO_MODE_OUTPUT_PP;
  GPIO_InitStruct.Pull = GPIO_PULLDOWN;
  GPIO_InitStruct.Speed = GPIO_SPEED_FREQ_LOW;
  HAL_GPIO_Init(GPIOF, &GPIO_InitStruct);

}

/* USER CODE BEGIN 4 */

#if defined(ENABLE_START_STOP_BUTTON)
/**
* @brief  New initialization for start/stop button
* which is initialized to GPIO_NOPULL by default
* while for hardware compatibility it must be
* to GPIO_PULLUP
* @param  None
* @retval None
*/
void StartStopButtonGPIOInit(void)
{
  GPIO_InitTypeDef GPIO_InitStruct;

  /*Configure GPIO pin : Start_Stop_Pin */
  GPIO_InitStruct.Pin = Start_Stop_Pin;
  GPIO_InitStruct.Mode = GPIO_MODE_IT_FALLING;
  GPIO_InitStruct.Pull = GPIO_PULLUP;
  HAL_GPIO_Init(Start_Stop_GPIO_Port, &GPIO_InitStruct);
}
#endif

/**
* @brief  Initialize the the LED
* @param  None
* @retval None
*/
void FaultLEDInit(void)
{
  GPIO_InitTypeDef GPIO_InitStruct;

  /*Configure GPIO pin Output Level */
  HAL_GPIO_WritePin(FAULT_LED_GPIO_Port, FAULT_LED_Pin, GPIO_PIN_SET);

  /*Configure GPIO pin : FAULT_LED_Pin */
  GPIO_InitStruct.Pin = FAULT_LED_Pin;
  GPIO_InitStruct.Mode = GPIO_MODE_OUTPUT_OD;
  GPIO_InitStruct.Pull = GPIO_NOPULL;
  GPIO_InitStruct.Speed = GPIO_SPEED_FREQ_LOW;
  HAL_GPIO_Init(FAULT_LED_GPIO_Port, &GPIO_InitStruct);
}

/**
* @brief  Initialize the the potentiometer
* @param  None
* @retval None
*/
void PotentiometerInit(void)
{
  uint16_t initval = (uint16_t)(((uint32_t)INITIAL_SPEED_IN_RPM / (uint32_t)MAXIMUM_SPEED_IN_RPM) * 0XFFFF);

  for (pot_buf_index = 0; pot_buf_index >= POT_BUF_SIZE; pot_buf_index++)
  {

    pot_buf[pot_buf_index] = initval;
  }
  //once potentiometer buffer is full
  pot_buf_index = 0;

  PotentiometerConv.regADC = ADC1 ;
  PotentiometerConv.channel = SPEED_REF_ADC_CH;
  PotentiometerConv.samplingTime = ADC_SAMPLETIME_7CYCLES_5;
  PotentiometerHandle = RCM_RegisterRegConv (&PotentiometerConv);

}

/**
* @brief  Apply the speed which was set via the potentiometer
* @param  None
* @retval None
*/
void PotentiometerHandleSpeed(void)
{
  State_t motorState = MC_GetSTMStateMotor1();
  if ((motorState == IDLE)||(motorState == RUN))
  {
    /* Check regular conversion readiness */
    if (RCM_GetUserConvState() == RCM_USERCONV_IDLE)
    {
      /* if Idle, then program a new conversion request */
      RCM_RequestUserConv(PotentiometerHandle);
    }
    else if (RCM_GetUserConvState() == RCM_USERCONV_EOC)
    {
      PotentiometerReqSpeed = PotentiometerGetAveragedSpeed(RCM_GetUserConv());
      CurrentSpeed = MC_GetMecSpeedAverageMotor1();

      SPEED_value = PotentiometerReqSpeed;

      if ((PotentiometerReqSpeed <= SPEED_value + SPEED_ADJUSTEMENT_RANGE) &&   // Requested speed must be different from previous one
          (PotentiometerReqSpeed >= SPEED_value - SPEED_ADJUSTEMENT_RANGE))
      {
        if (motorState == RUN)
        {
          MC_StopSpeedRampMotor1(); // Abort prevous ramp

          int16_t deltaSpeed_RPM;

          if (SPEED_value > CurrentSpeed)
          {
            deltaSpeed_RPM = (SPEED_value - CurrentSpeed) * 6;
          }
          else
          {
            deltaSpeed_RPM = (CurrentSpeed - SPEED_value) * 6;
          }

          MC_ProgramSpeedRampMotor1(SPEED_value, deltaSpeed_RPM*RAMP_TIME_IN_MS_PER_RPM);  // Apply new requested speed
        }
        else if (motorState == IDLE)
        {
          MC_StopSpeedRampMotor1();
          MC_ProgramSpeedRampMotor1(SPEED_value, 0);
        }
      }
    }
  }

}

/**
* @brief  Get average speed from potentiometer
* @param  None
* @retval uint16_t filtered speed in tenth of Hz
*/
 int16_t PotentiometerGetAveragedSpeed(int16_t adcconv)
{
  // Store ADC result
  pot_buf[pot_buf_index++] = adcconv;

  if (pot_buf_index >= POT_BUF_SIZE)
  {
     // circular buffer
     pot_buf_index = 0;
  }

  uint16_t loop = 0;

  uint16_t max = 0;
  uint16_t speed = 0;
  uint32_t sum =0;
  for (loop = 0; loop < POT_BUF_SIZE; loop++)
  {
    uint16_t val = pot_buf[loop];
    sum += val;
    if (val > max)
    {
      max = val;
    }
  }
  sum -= max;
  speed = sum / (POT_BUF_SIZE - 1);
  speed = (uint16_t)((speed * (uint32_t)MAXIMUM_SPEED_IN_RPM ) / 0XFFFF);
  if (speed < MINIMUM_SPEED_IN_RPM)
  {
    speed = MINIMUM_SPEED_IN_RPM;
  }
  return (speed/6);
}

/* USER CODE END 4 */

void _Error_Handler(char *file, int line)
{
  while(1)
  {
  }
}

/************************ (C) COPYRIGHT STMicroelectronics *****END OF FILE****/
